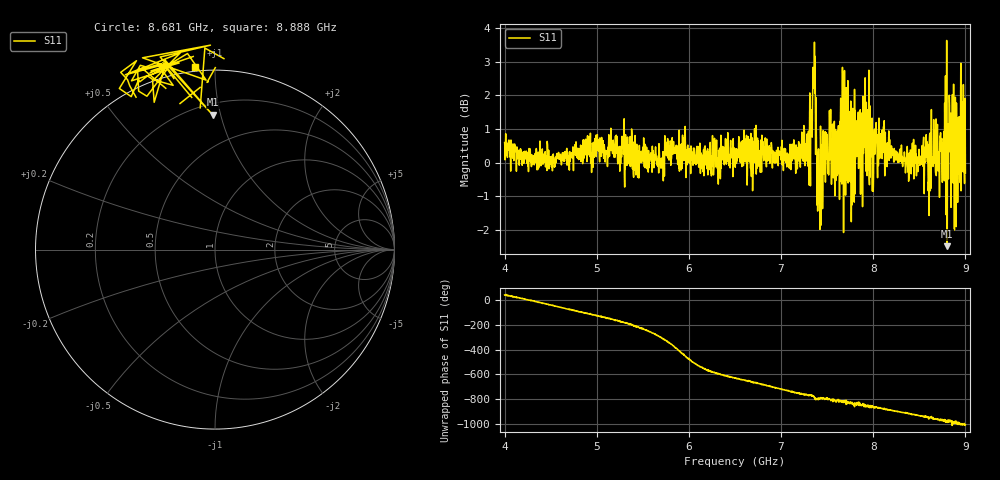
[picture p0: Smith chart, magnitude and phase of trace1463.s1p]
! Created with skrf 1.8.0 (http://scikit-rf.org).
# Hz S RI R 50.0
!freq ReS11 ImS11
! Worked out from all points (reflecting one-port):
!   1601 points, 4 GHz to 9 GHz, reference 50 ohm
!   lowest |S11| = -2.5 dB at 8.803 GHz (marker M1), VSWR 7.03, Z = 13.7 + j47.2 ohm
!   phase of S11 starts at 44 deg and turns -1052 deg over the sweep
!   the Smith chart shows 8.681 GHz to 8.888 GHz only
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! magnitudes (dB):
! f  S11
! 4 GHz  0.6
! 4.625 GHz  0.1
! 5.156 GHz  0.4
! 5.25 GHz  -0.3
! 5.709 GHz  0.1
! 5.875 GHz  0.3
! 6.5 GHz  0.1
! 7.125 GHz  0.4
! 7.294 GHz  -0.1
! 7.347 GHz  2.8
! 7.369 GHz  3.2
! 7.397 GHz  -1.4
! 7.409 GHz  -0.7
! 7.512 GHz  0.3
! 7.609 GHz  -0.4
! 7.662 GHz  0.3
! 7.75 GHz  -0.6
! 7.769 GHz  -0.4
! 7.891 GHz  0.3
! 7.981 GHz  0.2
! 8.097 GHz  0.1
! 8.375 GHz  -0.2
! 8.566 GHz  0.5
! 8.619 GHz  -0.8
! 8.803 GHz  -2.5
! 8.9 GHz  -1.9
! 8.972 GHz  0.7
! 9 GHz  -0.3
